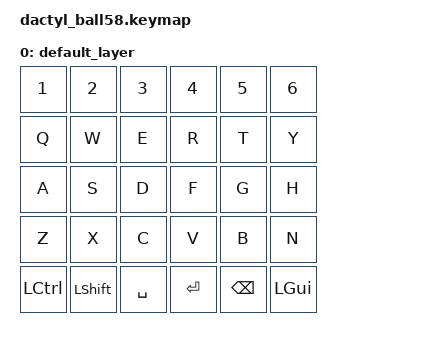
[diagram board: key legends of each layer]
#include <behaviors.dtsi>
#include <dt-bindings/zmk/keys.h>
#include <dt-bindings/zmk/bt.h>

/ {
    keymap {
        compatible = "zmk,keymap";

        default_layer {
            bindings = <
                // Row0（数字行）
                &kp N1  &kp N2  &kp N3  &kp N4  &kp N5  &kp N6
                // Row1
                &kp Q   &kp W   &kp E   &kp R   &kp T   &kp Y
                // Row2
                &kp A   &kp S   &kp D   &kp F   &kp G   &kp H
                // Row3
                &kp Z   &kp X   &kp C   &kp V   &kp B   &kp N
                // Row4（親指など）
                &kp LCTRL &kp LSHFT &kp SPACE &kp ENTER &kp BSPC &kp LGUI
            >;
        };
    };
};
